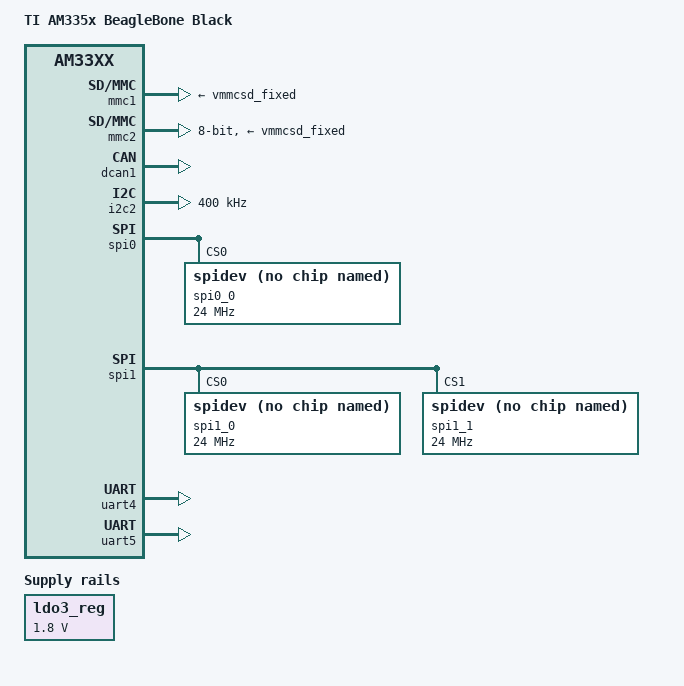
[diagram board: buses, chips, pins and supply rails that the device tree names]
/*
 * Copyright (C) 2012 Texas Instruments Incorporated - http://www.ti.com/
 *                    Modified by Mirko Denecke <mirkix@gmail.com>
 *
 * This program is free software; you can redistribute it and/or modify
 * it under the terms of the GNU General Public License version 2 as
 * published by the Free Software Foundation.
 */
/dts-v1/;

#include "am33xx.dtsi"
#include "am335x-bone-common.dtsi"

#include <dt-bindings/board/am335x-bbw-bbb-base.h>
#include <dt-bindings/pinctrl/am33xx.h>

/*
 * /etc/modprobe.d/pruss-blacklist.conf
 *
 * blacklist pruss
 * blacklist pruss_intc
 * blacklist pru-rproc
 */

#include "am33xx-pruss-uio.dtsi"

/ {
	model = "TI AM335x BeagleBone Black";
	compatible = "ti,am335x-bone-black", "ti,am335x-bone", "ti,am33xx";
};

&ldo3_reg {
	regulator-min-microvolt = <1800000>;
	regulator-max-microvolt = <1800000>;
	regulator-always-on;
};

&mmc1 {
	vmmc-supply = <&vmmcsd_fixed>;
};

&mmc2 {
	vmmc-supply = <&vmmcsd_fixed>;
	pinctrl-names = "default";
	pinctrl-0 = <&emmc_pins>;
	bus-width = <8>;
	status = "okay";
};

&cpu0_opp_table {
	/*
	 * All PG 2.0 silicon may not support 1GHz but some of the early
	 * BeagleBone Blacks have PG 2.0 silicon which is guaranteed
	 * to support 1GHz OPP so enable it for PG 2.0 on this board.
	 */
	oppnitro@1000000000 {
		opp-supported-hw = <0x06 0x0100>;
	};
};

&am33xx_pinmux {
	dcan1_pins: pinmux_dcan1_pins {
		pinctrl-single,pins = <
			/* P9_26: uart1_rxd.d_can1_tx */
			BONE_P9_26 (PIN_OUTPUT_PULLUP | MUX_MODE2)
			/* P9_24: uart1_txd.d_can1_rx */
			BONE_P9_24 (PIN_INPUT_PULLUP | MUX_MODE2)
		>;
	};

	pru_pins: pinmux_pru_pins {
		pinctrl-single,pins = <
			0x03c 0x35	/* ecap0_in_pwm0_out.pr1_ecap0_ecap_capin, MODE5 | INPUT_PULLUP | PRU, PPM-sum, SBUS, DSM  */

			0x0e8 0x25	/* lcd_pclk.pr1_pru1_pru_r30_10, MODE5 | OUTPUT | PRU, CH_1 */
			0x0e0 0x25	/* lcd_vsync.pr1_pru1_pru_r30_8, MODE5 | OUTPUT | PRU, CH_2 */
			0x0ec 0x25	/* lcd_ac_bias_en.pr1_pru1_pru_r30_11, MODE5 | OUTPUT | PRU, CH_3 */
			0x0e4 0x25	/* lcd_hsync.pr1_pru1_pru_r30_9, MODE5 | OUTPUT | PRU, CH_4 */
			0x0bc 0x25	/* lcd_data7.pr1_pru1_pru_r30_7, MODE5 | OUTPUT | PRU, CH_5 */
			0x0b8 0x25	/* lcd_data6.pr1_pru1_pru_r30_6, MODE5 | OUTPUT | PRU, CH_6 */
			0x0b4 0x25	/* lcd_data5.pr1_pru1_pru_r30_5, MODE5 | OUTPUT | PRU, CH_7 */
			0x0b0 0x25	/* lcd_data4.pr1_pru1_pru_r30_4, MODE5 | OUTPUT | PRU, CH_8 */
			0x0ac 0x25	/* lcd_data3.pr1_pru1_pru_r30_3, MODE5 | OUTPUT | PRU, CH_9 */
			0x0a8 0x25	/* lcd_data2.pr1_pru1_pru_r30_2, MODE5 | OUTPUT | PRU, CH_10 */
			0x0a4 0x25	/* lcd_data1.pr1_pru1_pru_r30_1, MODE5 | OUTPUT | PRU, CH_11 */
			0x0a0 0x25	/* lcd_data0.pr1_pru1_pru_r30_0, MODE5 | OUTPUT | PRU, CH_12 */

			BONE_P8_12 (PIN_OUTPUT_PULLDOWN | MUX_MODE6) /* HC-SR04 TRIG */
			BONE_P8_16 (PIN_INPUT_PULLDOWN | MUX_MODE6) /* HC-SR04 ECHO */

			BONE_P9_25 (PIN_INPUT_PULLDOWN | MUX_MODE6) /* MPU9250 INT */
		>;
	};

	spi0_pins: pinmux_spi0_pins {
		pinctrl-single,pins = <
			/* P9_22: spi0_sclk.spi0_sclk */
			BONE_P9_22 (PIN_INPUT_PULLUP | MUX_MODE0)
			/* P9_21: spi0_d0.spi0_d0 */
			BONE_P9_21 (PIN_INPUT_PULLUP | MUX_MODE0)
			/* P9_18: spi0_d1.spi0_d1 */
			BONE_P9_18 (PIN_OUTPUT_PULLUP | MUX_MODE0)
			/* P9_17: spi0_cs0.spi0_cs0 */
			BONE_P9_17 (PIN_OUTPUT_PULLUP | MUX_MODE0)
		>;
	};

	spi1_pins: pinmux_spi1_pins {
		pinctrl-single,pins = <
			/* P9_31: mcasp0_aclkx.spi1_sclk */
			BONE_P9_31 (PIN_INPUT_PULLUP | MUX_MODE3)

			/* P9_29: mcasp0_fsx.spi1_d0 */
			BONE_P9_29 (PIN_INPUT_PULLUP | MUX_MODE3)

			/* P9_30: mcasp0_axr0.spi1_d1 */
			BONE_P9_30 (PIN_OUTPUT_PULLUP | MUX_MODE3)

			/* P9_28: mcasp0_ahclkr.spi1_cs0 */
			BONE_P9_28 (PIN_OUTPUT_PULLUP | MUX_MODE3)

			/* P9_19: uart1_rtsn.spi1_cs1 */
/*			BONE_P9_19 (PIN_OUTPUT_PULLUP | MUX_MODE4)*/

			/* P9_42: ecap0_in_pwm0_out.spi1_cs1 */
			BONE_P9_42A (PIN_OUTPUT_PULLUP | MUX_MODE2)
		>;
	};

	uart4_pins: pinmux_uart4_pins {
		pinctrl-single,pins = <
			/* P9_11: gpmc_wait0.uart4_rxd_mux2 */
			BONE_P9_11 (PIN_INPUT_PULLUP | MUX_MODE6)
			/* P9_13: gpmc_wpn.uart4_txd_mux2  */
			BONE_P9_13 (PIN_OUTPUT_PULLDOWN | MUX_MODE6)
		>;
	};

	uart5_pins: pinmux_uart5_pins {
		pinctrl-single,pins = <
			/* P8_38: lcd_data9.uart5_rxd */
			BONE_P8_38 (PIN_INPUT_PULLUP | MUX_MODE4)
			/* P8_37: lcd_data8.uart5_txd */
			BONE_P8_37 (PIN_OUTPUT_PULLDOWN | MUX_MODE4)
		>;
	};
};

&dcan1 {
	pinctrl-names = "default";
	pinctrl-0 = <&dcan1_pins>;
	status = "okay";
};

&i2c2 {
	clock-frequency = <400000>;
};

&spi0 {
	pinctrl-names = "default";
	pinctrl-0 = <&spi0_pins>;
	status = "okay";

	spi0_0 {
		#address-cells = <1>;
		#size-cells = <0>;
		spi-max-frequency = <24000000>;
		reg = <0>;
		compatible = "spidev";
	};
};

&spi1 {
	pinctrl-names = "default";
	pinctrl-0 = <&spi1_pins>;
	status = "okay";

	spi1_0 {
		#address-cells = <1>;
		#size-cells = <0>;
		reg = <0>;
		spi-max-frequency = <24000000>;
		compatible = "spidev";
	};

	spi1_1 {
		#address-cells = <1>;
		#size-cells = <0>;
		reg = <1>;
		spi-max-frequency = <24000000>;
		compatible = "spidev";
	};
};

&tscadc {
	adc {
		ti,adc-channels = <0 1>;
	};
};

&uart4 {
	pinctrl-names = "default";
	pinctrl-0 = <&uart4_pins>;
	status = "okay";
};

&uart5 {
	pinctrl-names = "default";
	pinctrl-0 = <&uart5_pins>;
	status = "okay";
};
